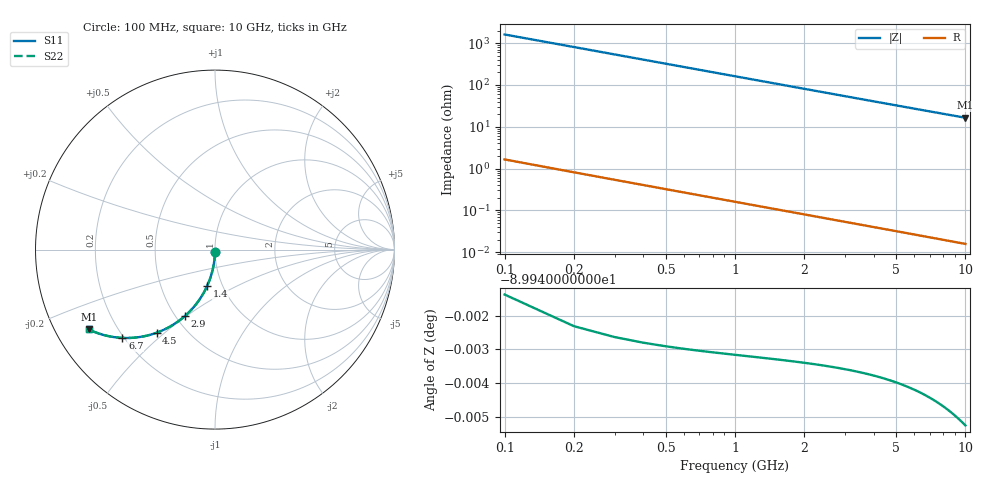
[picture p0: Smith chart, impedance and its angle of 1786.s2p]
# Hz S RI R 50.00
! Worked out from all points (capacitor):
!   100 points, 100 MHz to 10 GHz, reference 50 ohm
!   read as one part in shunt: C = 983 fF near 100 MHz
!   lowest |Z| = 16.5 ohm at 10 GHz (marker M1)
!   S11 on the Smith chart (normalised r, x): 100 MHz: 1.00, -0.03; 1.4 GHz: 0.84, -0.36; 2.9 GHz: 0.56, -0.49; 4.5 GHz: 0.35, -0.47; 6.7 GHz: 0.19, -0.39; 10 GHz: 0.10, -0.29
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1e8  -0.000231 -0.0153  0.9997 -0.0155  0.9997 -0.0155  -0.000231 -0.0153
2e8  -0.000961 -0.0306  0.999 -0.0311  0.999 -0.0311  -0.000961 -0.0306
3e8  -0.00216 -0.0459  0.9978 -0.0465  0.9978 -0.0465  -0.00216 -0.0459
4e8  -0.00384 -0.0611  0.9961 -0.0619  0.9961 -0.0619  -0.00384 -0.0611
5e8  -0.00598 -0.0762  0.994 -0.0773  0.994 -0.0773  -0.00598 -0.0762
6e8  -0.00858 -0.0912  0.9914 -0.0925  0.9914 -0.0925  -0.00858 -0.0912
7e8  -0.0116 -0.1061  0.9883 -0.1075  0.9883 -0.1075  -0.0116 -0.1061
9e8  -0.019 -0.1353  0.9809 -0.1372  0.9809 -0.1372  -0.019 -0.1353
1.1e9  -0.0282 -0.1638  0.9718 -0.1662  0.9718 -0.1662  -0.0282 -0.1638
1.4e9  -0.0448 -0.2049  0.9552 -0.2079  0.9552 -0.2079  -0.0448 -0.2049
1.8e9  -0.0718 -0.2558  0.9281 -0.2597  0.9281 -0.2597  -0.0718 -0.2558
2.3e9  -0.1121 -0.3125  0.8879 -0.3174  0.8879 -0.3174  -0.1121 -0.3125
2.9e9  -0.1669 -0.3693  0.833 -0.3756  0.833 -0.3756  -0.1669 -0.3693
3.4e9  -0.2158 -0.4073  0.7841 -0.4146  0.7841 -0.4146  -0.2158 -0.4073
3.9e9  -0.2657 -0.437  0.7342 -0.4454  0.7342 -0.4454  -0.2657 -0.437
4.5e9  -0.325 -0.463  0.6749 -0.4727  0.6749 -0.4727  -0.325 -0.463
5.1e9  -0.3819 -0.4799  0.618 -0.4909  0.618 -0.4909  -0.3819 -0.4799
5.9e9  -0.4525 -0.4908  0.5474 -0.5037  0.5474 -0.5037  -0.4525 -0.4908
6.7e9  -0.5158 -0.4919  0.4841 -0.5066  0.4841 -0.5066  -0.5158 -0.4919
7.5e9  -0.5716 -0.4861  0.4282 -0.5025  0.4282 -0.5025  -0.5716 -0.4861
8.4e9  -0.6259 -0.4741  0.3738 -0.4926  0.3738 -0.4926  -0.6259 -0.4741
1e10  -0.7035 -0.4451  0.2962 -0.4672  0.2962 -0.4672  -0.7035 -0.4451
